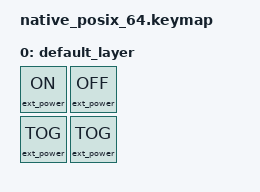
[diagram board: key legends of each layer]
#include <dt-bindings/zmk/keys.h>
#include <behaviors.dtsi>
#include <dt-bindings/zmk/kscan_mock.h>
#include <dt-bindings/zmk/ext_power.h>

/ {
    led_power: led_power {
        compatible = "zmk,ext-power-transient";
        label = "EXT_POWER";
        control-gpios = <&gpio0 0 GPIO_ACTIVE_HIGH>;
    };

    keymap {
        compatible = "zmk,keymap";

        default_layer {
            bindings = <
            &ext_power EP_ON  &ext_power EP_OFF
            &ext_power EP_TOG &ext_power EP_TOG
            >;
        };
    };
};

&kscan {
    events = <
    /* EP_ON */
    ZMK_MOCK_PRESS(0,0,10)
    ZMK_MOCK_RELEASE(0,0,10)
    /* EP_OFF */
    ZMK_MOCK_PRESS(0,1,10)
    ZMK_MOCK_RELEASE(0,1,10)
    /* EP_TOG (off -> on) */
    ZMK_MOCK_PRESS(1,0,10)
    ZMK_MOCK_RELEASE(1,0,10)
    /* EP_TOG (on -> off) */
    ZMK_MOCK_PRESS(1,1,10)
    ZMK_MOCK_RELEASE(1,1,10)
    >;
};
